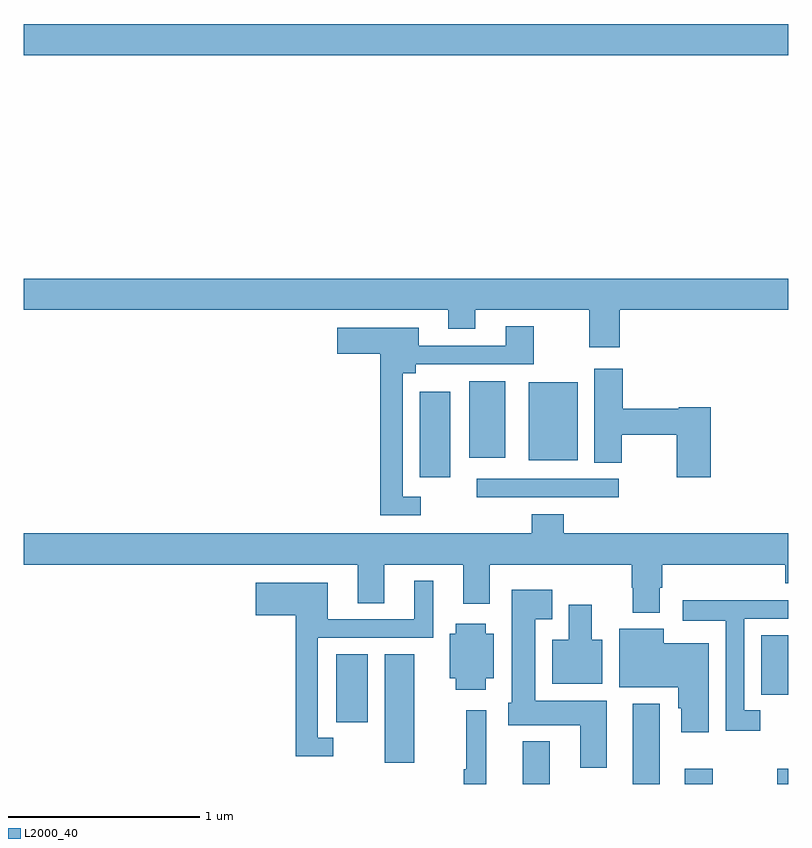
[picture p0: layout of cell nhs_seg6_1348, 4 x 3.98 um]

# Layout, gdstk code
import gdstk
lib = gdstk.Library(unit=1e-6, precision=1e-09)
def R(c, l, rs):  # rectangles x0, y0, x1, y1
    for r in rs: c.add(gdstk.rectangle(r[:2], r[2:], *l))
def P(c, l, *ps):  # polygons
    for p in ps: c.add(gdstk.Polygon(p, *l))
L2000_40 = (2000, 40)

nhs_seg6_1348 = lib.new_cell('nhs_seg6_1348')
R(nhs_seg6_1348, L2000_40, [(195.611,967.5,195.751,967.723), (196.187,967.5,196.327,967.921), (196.457,967.5,196.605,967.579), (196.942,967.5,197,967.579), (194.888,967.611,195.043,968.18), (194.636,967.824,194.8,968.18), (196.859,967.968,197,968.279), (195.369,969,196.114,969.096), (195.071,969.105,195.232,969.553), (195.641,969.194,195.898,969.601), (195.332,969.206,195.52,969.607), (193,971.312,197,971.476)])
P(nhs_seg6_1348, L2000_40, [(196.118,969.98),(197,969.98),(197,970.144),(193,970.144),(193,969.98),(195.221,969.98),(195.221,969.881),(195.361,969.881),(195.361,969.98),(195.958,969.98),(195.958,969.786),(196.118,969.786)],
  [(195.076,969.003),(194.982,969.003),(194.982,969.65),(195.052,969.65),(195.052,969.696),(195.669,969.696),(195.669,969.895),(195.521,969.895),(195.521,969.792),(195.067,969.792),(195.067,969.886),(194.64,969.886),(194.64,969.752),(194.866,969.752),(194.866,968.907),(195.076,968.907)],
  [(196.595,969.472),(196.428,969.472),(196.428,969.464),(196.133,969.464),(196.133,969.673),(195.986,969.673),(195.986,969.181),(196.128,969.181),(196.128,969.328),(196.417,969.328),(196.417,969.105),(196.595,969.105)],
  [(196.327,968.528),(196.34,968.528),(196.34,968.648),(196.985,968.648),(196.985,968.549),(197,968.549),(197,968.812),(195.824,968.812),(195.824,968.911),(195.659,968.911),(195.659,968.812),(193,968.812),(193,968.648),(194.747,968.648),(194.747,968.446),(194.887,968.446),(194.887,968.648),(195.299,968.648),(195.299,968.442),(195.439,968.442),(195.439,968.648),(196.18,968.648),(196.18,968.528),(196.187,968.528),(196.187,968.396),(196.327,968.396)],
  [(194.62,967.743),(194.538,967.743),(194.538,968.265),(195.142,968.265),(195.142,968.563),(195.044,968.563),(195.044,968.361),(194.59,968.361),(194.59,968.554),(194.214,968.554),(194.214,968.384),(194.422,968.384),(194.422,967.646),(194.62,967.646)],
  [(196.051,967.936),(195.676,967.936),(195.676,968.363),(195.766,968.363),(195.766,968.515),(195.554,968.515),(195.554,967.926),(195.536,967.926),(195.536,967.808),(195.911,967.808),(195.911,967.584),(196.051,967.584)],
  [(196.852,967.887),(196.77,967.887),(196.77,968.364),(197,968.364),(197,968.46),(196.867,968.46),(196.867,968.462),(196.449,968.462),(196.449,968.354),(196.674,968.354),(196.674,967.779),(196.852,967.779)],
  [(196.027,968.254),(195.973,968.254),(195.973,968.437),(195.851,968.437),(195.851,968.254),(195.764,968.254),(195.764,968.024),(196.027,968.024)],
  [(195.418,968.054),(195.46,968.054),(195.46,968.287),(195.418,968.287),(195.418,968.338),(195.26,968.338),(195.26,968.287),(195.23,968.287),(195.23,968.054),(195.26,968.054),(195.26,967.994),(195.418,967.994)],
  [(196.585,968.236),(196.348,968.236),(196.348,968.311),(196.115,968.311),(196.115,968.006),(196.424,968.006),(196.424,967.896),(196.439,967.896),(196.439,967.77),(196.585,967.77)],
  [(195.419,967.885),(195.316,967.885),(195.316,967.576),(195.301,967.576),(195.301,967.5),(195.419,967.5)])

lib.write_gds('nhs_seg6_1348.gds')
